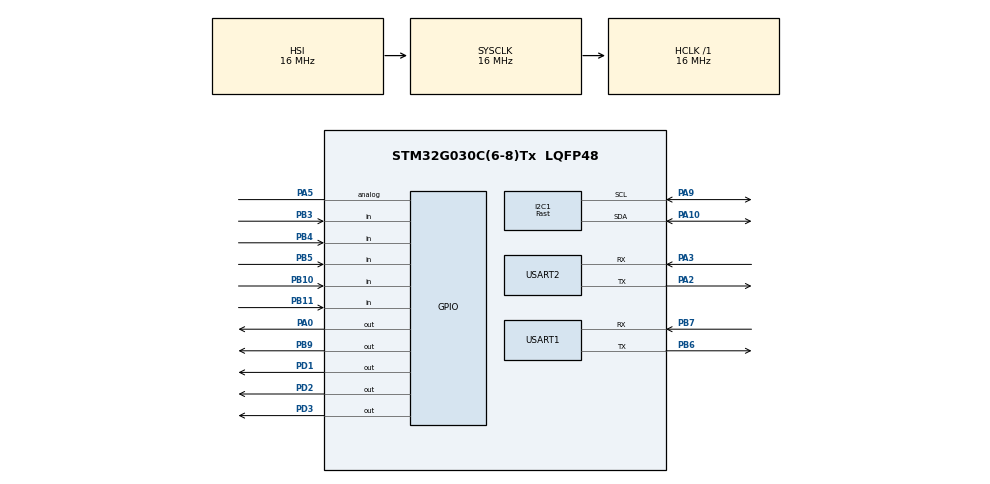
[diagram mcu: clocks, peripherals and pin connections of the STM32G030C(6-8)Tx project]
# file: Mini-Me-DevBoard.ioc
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I2C1.I2C_Speed_Mode=I2C_Fast
I2C1.Timing=0x00300617
Mcu.Family=STM32G0
Mcu.Name=STM32G030C(6-8)Tx
Mcu.Package=LQFP48
PA0.Signal=GPIO_Output
PA10.Mode=I2C
PA10.Signal=I2C1_SDA
PA2.Mode=Asynchronous
PA2.Signal=USART2_TX
PA3.Mode=Asynchronous
PA3.Signal=USART2_RX
PA5.Signal=GPIO_Analog
PA9.Mode=I2C
PA9.Signal=I2C1_SCL
PB10.Signal=GPIO_Input
PB11.Signal=GPIO_Input
PB3.Signal=GPIO_Input
PB4.Signal=GPIO_Input
PB5.Signal=GPIO_Input
PB6.Mode=Asynchronous
PB6.Signal=USART1_TX
PB7.Mode=Asynchronous
PB7.Signal=USART1_RX
PB9.Signal=GPIO_Output
PD1.Signal=GPIO_Output
PD2.Signal=GPIO_Output
PD3.Signal=GPIO_Output
ProjectManager.HeapSize=0x200
ProjectManager.StackSize=0x400
ProjectManager.TargetToolchain=STM32CubeIDE
RCC.AHBFreq_Value=16000000
RCC.CortexFreq_Value=16000000
RCC.EXTERNAL_CLOCK_VALUE=12288000
RCC.HCLKFreq_Value=16000000
RCC.HSE_VALUE=8000000
RCC.HSI_VALUE=16000000
RCC.LSE_VALUE=32768
RCC.SYSCLKFreq_VALUE=16000000
RCC.VCOOutputFreq_Value=128000000
USART1.VirtualMode-Asynchronous=VM_ASYNC
USART2.VirtualMode-Asynchronous=VM_ASYNC
board=custom

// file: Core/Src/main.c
/* USER CODE BEGIN Header */
/**
  ******************************************************************************
  * @file           : main.c
  * @brief          : Main program body
  ******************************************************************************
  * @attention
  *
  * Copyright (c) 2025 STMicroelectronics.
  * All rights reserved.
  *
  * This software is licensed under terms that can be found in the LICENSE file
  * in the root directory of this software component.
  * If no LICENSE file comes with this software, it is provided AS-IS.
  *
  ******************************************************************************
  */
/* USER CODE END Header */
#include "main.h"

/* USER CODE BEGIN Includes */
#include "ssd1306.h"
#include "ssd1306_fonts.h"
#include "display.h"
#include "rotary.h"
#include "pca9685.h"
#include "jsmn.h"
#include <string.h>
#include <stdlib.h>
/* USER CODE END Includes */

/* USER CODE BEGIN PD */
#define JSON_BUFFER_SIZE 1024 // Buffer for JSON data
/* USER CODE END PD */

I2C_HandleTypeDef hi2c1;

UART_HandleTypeDef huart1;
UART_HandleTypeDef huart2;

/* USER CODE BEGIN PV */
uint8_t rx_buffer[JSON_BUFFER_SIZE];
uint8_t rx_data;  // Single byte for receiving
uint16_t rx_index = 0;
volatile uint8_t message_received = 0;
/* USER CODE END PV */

void SystemClock_Config(void);
static void MX_GPIO_Init(void);
static void MX_I2C1_Init(void);
static void MX_USART1_UART_Init(void);
static void MX_USART2_UART_Init(void);
/* USER CODE BEGIN PFP */
static int jsoneq(const char *json, jsmntok_t *tok, const char *s);
static int extract_int(const char *json, jsmntok_t *tok);
void ProcessServoCommand(const char *json_string);
void send_uart_message(const char* message);
/* USER CODE END PFP */

/* USER CODE BEGIN 0 */
// Helper function to check if JSON token matches a string
static int jsoneq(const char *json, jsmntok_t *tok, const char *s) {
    if (tok->type == JSMN_STRING &&
        (int)strlen(s) == tok->end - tok->start &&
        strncmp(json + tok->start, s, (size_t)(tok->end - tok->start)) == 0) {
        return 0;
    }
    return -1;
}

// Helper function to extract integer value from token
static int extract_int(const char *json, jsmntok_t *tok) {
    char value[8] = {0}; // Buffer for number conversion
    size_t len = (size_t)(tok->end - tok->start);
    if (len >= sizeof(value)) len = sizeof(value) - 1;
    strncpy(value, json + tok->start, len);
    return atoi(value);
}

void ProcessServoCommand(const char *json_string) {
    jsmn_parser parser;
    jsmntok_t tokens[64]; // Adjust size based on your needs

    jsmn_init(&parser);
    int r = jsmn_parse(&parser, json_string, strlen(json_string), tokens, 64);

    if (r < 1 || tokens[0].type != JSMN_OBJECT) {
        return; // Invalid JSON
    }

    // Parse through all tokens
    for (int i = 1; i < r; i++) {
        // Check for single servo command
        if (jsoneq(json_string, &tokens[i], "servo") == 0) {
            // Look for servo number
            i++;
            int servo_id = extract_int(json_string, &tokens[i]);

            // Look for "angle" field
            i++;
            if (jsoneq(json_string, &tokens[i], "angle") == 0) {
                i++;
                int angle = extract_int(json_string, &tokens[i]);

                // Set servo angle
                PCA9685_SetSinglePwm(servo_id, AngleToPWM(angle));
                HAL_Delay(1);
            }
        }
        // Check for multiple servos array
        else if (jsoneq(json_string, &tokens[i], "servos") == 0) {
            // Next token should be array
            i++;
            if (tokens[i].type != JSMN_ARRAY) {
                continue;
            }

            int array_size = tokens[i].size;
            i++; // Move to first object in array

            // Process each servo object in array
            for (int j = 0; j < array_size; j++) {
                if (tokens[i].type != JSMN_OBJECT) {
                    break;
                }

                int servo_id = -1;
                int angle = -1;

                // Parse servo object
                int obj_size = tokens[i].size;
                i++; // Move to first key in object

                for (int k = 0; k < obj_size * 2; k += 2) {
                    if (jsoneq(json_string, &tokens[i+k], "id") == 0) {
                        servo_id = extract_int(json_string, &tokens[i+k+1]);
                    }
                    else if (jsoneq(json_string, &tokens[i+k], "angle") == 0) {
                        angle = extract_int(json_string, &tokens[i+k+1]);
                    }
                }

                // If we got both id and angle, set the servo
                if (servo_id >= 0 && angle >= 0) {
                    PCA9685_SetSinglePwm(servo_id, AngleToPWM(angle));
                    HAL_Delay(1);
                }

                i += obj_size * 2; // Move to next object
            }
        }
    }
}

void ProcessJsonMessage(void) {
    // Only process if we have a valid-looking JSON (starts with { and ends with })
    if (rx_index > 2 && rx_buffer[0] == '{' && rx_buffer[rx_index-1] == '}') {
        ProcessServoCommand((char*)rx_buffer);
        display_message((char*)rx_buffer); // Keep existing display functionality
        HAL_GPIO_TogglePin(GPIOC, GPIO_PIN_13); // Toggle LED on PC13
    }

    // Reset for next message
    rx_index = 0;
    message_received = 0;
}
/* USER CODE END 0 */

int main(void)
{

  /* MCU Configuration--------------------------------------------------------*/

  /* Reset of all peripherals, Initializes the Flash interface and the Systick. */
  HAL_Init();

  /* Configure the system clock */
  SystemClock_Config();

  /* Initialize all configured peripherals */
  MX_GPIO_Init();
  MX_I2C1_Init();
  MX_USART1_UART_Init();
  MX_USART2_UART_Init();
  /* USER CODE BEGIN 2 */
  ssd1306_Init();
  //PCA9685_Init();
  display_menu_item("UDP");
  // Start UART reception in interrupt mode
  HAL_UART_Receive_IT(&huart1, &rx_data, 1);
  /* USER CODE END 2 */

  /* Infinite loop */
  while (1)
  {

    /* USER CODE BEGIN 3 */
	if (!in_debug_mode) {
	       rotary_read();
	}
	if (message_received && in_debug_mode) {
	       ProcessJsonMessage();
	}
  }
  /* USER CODE END 3 */
}

void SystemClock_Config(void)
{
  RCC_OscInitTypeDef RCC_OscInitStruct = {0};
  RCC_ClkInitTypeDef RCC_ClkInitStruct = {0};

  /** Configure the main internal regulator output voltage
  */
  HAL_PWREx_ControlVoltageScaling(PWR_REGULATOR_VOLTAGE_SCALE1);

  /** Initializes the RCC Oscillators according to the specified parameters
  * in the RCC_OscInitTypeDef structure.
  */
  RCC_OscInitStruct.OscillatorType = RCC_OSCILLATORTYPE_HSI;
  RCC_OscInitStruct.HSIState = RCC_HSI_ON;
  RCC_OscInitStruct.HSIDiv = RCC_HSI_DIV1;
  RCC_OscInitStruct.HSICalibrationValue = RCC_HSICALIBRATION_DEFAULT;
  RCC_OscInitStruct.PLL.PLLState = RCC_PLL_NONE;
  if (HAL_RCC_OscConfig(&RCC_OscInitStruct) != HAL_OK)
  {
    Error_Handler();
  }

  /** Initializes the CPU, AHB and APB buses clocks
  */
  RCC_ClkInitStruct.ClockType = RCC_CLOCKTYPE_HCLK|RCC_CLOCKTYPE_SYSCLK
                              |RCC_CLOCKTYPE_PCLK1;
  RCC_ClkInitStruct.SYSCLKSource = RCC_SYSCLKSOURCE_HSI;
  RCC_ClkInitStruct.AHBCLKDivider = RCC_SYSCLK_DIV1;
  RCC_ClkInitStruct.APB1CLKDivider = RCC_HCLK_DIV1;

  if (HAL_RCC_ClockConfig(&RCC_ClkInitStruct, FLASH_LATENCY_0) != HAL_OK)
  {
    Error_Handler();
  }
}

static void MX_I2C1_Init(void)
{

  hi2c1.Instance = I2C1;
  hi2c1.Init.Timing = 0x00300617;
  hi2c1.Init.OwnAddress1 = 0;
  hi2c1.Init.AddressingMode = I2C_ADDRESSINGMODE_7BIT;
  hi2c1.Init.DualAddressMode = I2C_DUALADDRESS_DISABLE;
  hi2c1.Init.OwnAddress2 = 0;
  hi2c1.Init.OwnAddress2Masks = I2C_OA2_NOMASK;
  hi2c1.Init.GeneralCallMode = I2C_GENERALCALL_DISABLE;
  hi2c1.Init.NoStretchMode = I2C_NOSTRETCH_DISABLE;
  if (HAL_I2C_Init(&hi2c1) != HAL_OK)
  {
    Error_Handler();
  }

  /** Configure Analogue filter
  */
  if (HAL_I2CEx_ConfigAnalogFilter(&hi2c1, I2C_ANALOGFILTER_ENABLE) != HAL_OK)
  {
    Error_Handler();
  }

  /** Configure Digital filter
  */
  if (HAL_I2CEx_ConfigDigitalFilter(&hi2c1, 0) != HAL_OK)
  {
    Error_Handler();
  }

}

static void MX_USART1_UART_Init(void)
{

  huart1.Instance = USART1;
  huart1.Init.BaudRate = 115200;
  huart1.Init.WordLength = UART_WORDLENGTH_8B;
  huart1.Init.StopBits = UART_STOPBITS_1;
  huart1.Init.Parity = UART_PARITY_NONE;
  huart1.Init.Mode = UART_MODE_TX_RX;
  huart1.Init.HwFlowCtl = UART_HWCONTROL_NONE;
  huart1.Init.OverSampling = UART_OVERSAMPLING_16;
  huart1.Init.OneBitSampling = UART_ONE_BIT_SAMPLE_DISABLE;
  huart1.Init.ClockPrescaler = UART_PRESCALER_DIV1;
  huart1.AdvancedInit.AdvFeatureInit = UART_ADVFEATURE_NO_INIT;
  if (HAL_UART_Init(&huart1) != HAL_OK)
  {
    Error_Handler();
  }
  if (HAL_UARTEx_SetTxFifoThreshold(&huart1, UART_TXFIFO_THRESHOLD_1_8) != HAL_OK)
  {
    Error_Handler();
  }
  if (HAL_UARTEx_SetRxFifoThreshold(&huart1, UART_RXFIFO_THRESHOLD_1_8) != HAL_OK)
  {
    Error_Handler();
  }
  if (HAL_UARTEx_DisableFifoMode(&huart1) != HAL_OK)
  {
    Error_Handler();
  }

}

static void MX_USART2_UART_Init(void)
{

  huart2.Instance = USART2;
  huart2.Init.BaudRate = 115200;
  huart2.Init.WordLength = UART_WORDLENGTH_8B;
  huart2.Init.StopBits = UART_STOPBITS_1;
  huart2.Init.Parity = UART_PARITY_NONE;
  huart2.Init.Mode = UART_MODE_TX_RX;
  huart2.Init.HwFlowCtl = UART_HWCONTROL_NONE;
  huart2.Init.OverSampling = UART_OVERSAMPLING_16;
  huart2.Init.OneBitSampling = UART_ONE_BIT_SAMPLE_DISABLE;
  huart2.Init.ClockPrescaler = UART_PRESCALER_DIV1;
  huart2.AdvancedInit.AdvFeatureInit = UART_ADVFEATURE_NO_INIT;
  if (HAL_UART_Init(&huart2) != HAL_OK)
  {
    Error_Handler();
  }

}

static void MX_GPIO_Init(void)
{
  GPIO_InitTypeDef GPIO_InitStruct = {0};

  /* GPIO Ports Clock Enable */
  __HAL_RCC_GPIOA_CLK_ENABLE();
  __HAL_RCC_GPIOB_CLK_ENABLE();
  __HAL_RCC_GPIOD_CLK_ENABLE();

  /*Configure GPIO pin Output Level */
  HAL_GPIO_WritePin(GPIOA, GPIO_PIN_0, GPIO_PIN_RESET);

  /*Configure GPIO pin Output Level */
  HAL_GPIO_WritePin(GPIOD, GPIO_PIN_1|GPIO_PIN_2|GPIO_PIN_3, GPIO_PIN_RESET);

  /*Configure GPIO pin Output Level */
  HAL_GPIO_WritePin(GPIOB, GPIO_PIN_9, GPIO_PIN_RESET);

  /*Configure GPIO pin : PA0 */
  GPIO_InitStruct.Pin = GPIO_PIN_0;
  GPIO_InitStruct.Mode = GPIO_MODE_OUTPUT_PP;
  GPIO_InitStruct.Pull = GPIO_NOPULL;
  GPIO_InitStruct.Speed = GPIO_SPEED_FREQ_LOW;
  HAL_GPIO_Init(GPIOA, &GPIO_InitStruct);

  /*Configure GPIO pin : PA5 */
  GPIO_InitStruct.Pin = GPIO_PIN_5;
  GPIO_InitStruct.Mode = GPIO_MODE_ANALOG;
  GPIO_InitStruct.Pull = GPIO_NOPULL;
  HAL_GPIO_Init(GPIOA, &GPIO_InitStruct);

  /*Configure GPIO pins : PB10 PB11 PB3 PB4
                           PB5 */
  GPIO_InitStruct.Pin = GPIO_PIN_10|GPIO_PIN_11|GPIO_PIN_3|GPIO_PIN_4
                          |GPIO_PIN_5;
  GPIO_InitStruct.Mode = GPIO_MODE_INPUT;
  GPIO_InitStruct.Pull = GPIO_NOPULL;
  HAL_GPIO_Init(GPIOB, &GPIO_InitStruct);

  /*Configure GPIO pins : PD1 PD2 PD3 */
  GPIO_InitStruct.Pin = GPIO_PIN_1|GPIO_PIN_2|GPIO_PIN_3;
  GPIO_InitStruct.Mode = GPIO_MODE_OUTPUT_PP;
  GPIO_InitStruct.Pull = GPIO_NOPULL;
  GPIO_InitStruct.Speed = GPIO_SPEED_FREQ_LOW;
  HAL_GPIO_Init(GPIOD, &GPIO_InitStruct);

  /*Configure GPIO pin : PB9 */
  GPIO_InitStruct.Pin = GPIO_PIN_9;
  GPIO_InitStruct.Mode = GPIO_MODE_OUTPUT_PP;
  GPIO_InitStruct.Pull = GPIO_NOPULL;
  GPIO_InitStruct.Speed = GPIO_SPEED_FREQ_LOW;
  HAL_GPIO_Init(GPIOB, &GPIO_InitStruct);

}

/* USER CODE BEGIN 4 */
void HAL_UART_RxCpltCallback(UART_HandleTypeDef *huart)
{
    if (huart->Instance == USART1) {
        if (rx_index < JSON_BUFFER_SIZE - 1) {
            rx_buffer[rx_index++] = rx_data;

            // Check for end of JSON message
            if (rx_data == '\n' || rx_data == '}') {
                rx_buffer[rx_index] = '\0';
                message_received = 1;
            }
        } else {
            rx_index = 0;
        }

        HAL_UART_Receive_IT(&huart1, &rx_data, 1);
    }
}

void send_uart_message(const char* message) {
    HAL_UART_Transmit(&huart1, (uint8_t*)message, strlen(message), 100);
}
/* USER CODE END 4 */

void Error_Handler(void)
{
  __disable_irq();
  while (1)
  {
  }
}
